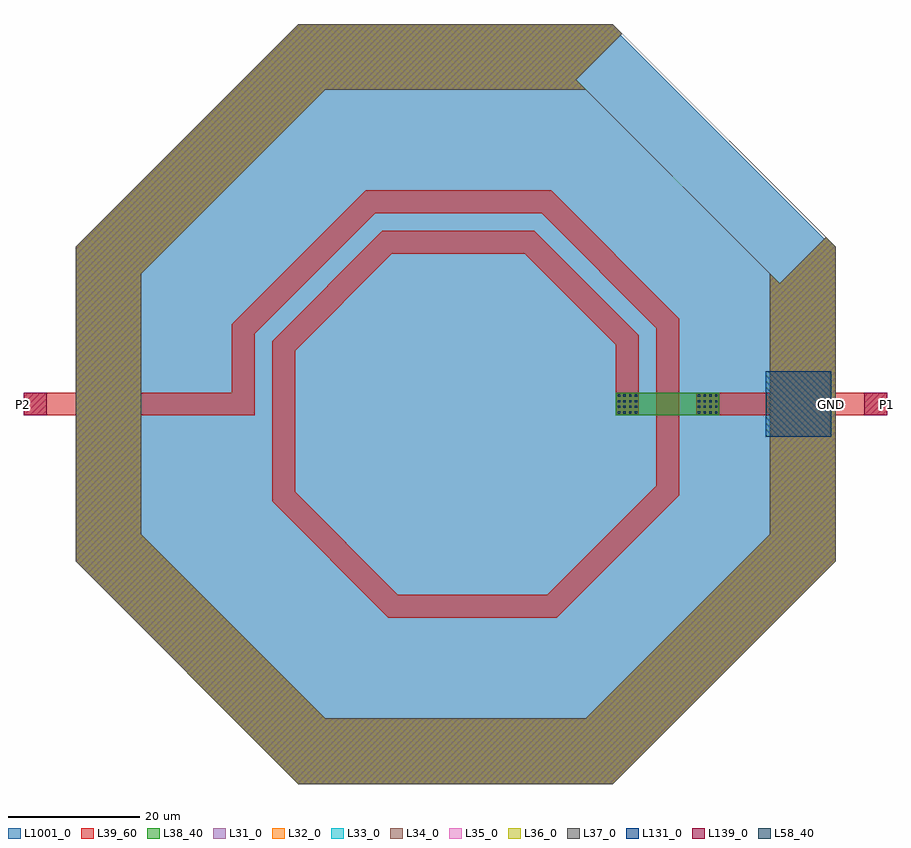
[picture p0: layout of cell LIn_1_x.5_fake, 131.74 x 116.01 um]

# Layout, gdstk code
import gdstk
lib = gdstk.Library(unit=1e-6, precision=1e-09)
def R(c, l, rs):  # rectangles x0, y0, x1, y1
    for r in rs: c.add(gdstk.rectangle(r[:2], r[2:], *l))
def A(c, l, x, y, w, h, nx, ny, dx, dy):  # array of equal rectangles
    R(c, l, [(x+i*dx, y+j*dy, x+i*dx+w, y+j*dy+h) for i in range(nx) for j in range(ny)])
def P(c, l, *ps):  # polygons
    for p in ps: c.add(gdstk.Polygon(p, *l))
L31_0 = (31, 0)
L32_0 = (32, 0)
L33_0 = (33, 0)
L34_0 = (34, 0)
L35_0 = (35, 0)
L36_0 = (36, 0)
L37_0 = (37, 0)
L38_40 = (38, 40)
L39_60 = (39, 60)
L58_40 = (58, 40)
L131_0 = (131, 0)
L139_0 = (139, 0)
L1001_0 = (1001, 0)

lin_1_x_5_fake = lib.new_cell('LIn_1_x.5_fake')
P(lin_1_x_5_fake, L31_0, [(49.467,18.419),(56.539,25.49),(24.026,58.003),(-24.026,58.003),(-58.003,24.026),(-58.003,-24.026),(-24.026,-58.003),(24.026,-58.003),(58.003,-24.026),(58.003,24.026),(25.49,56.539),(18.419,49.467),(48.003,19.883),(48.003,-19.883),(19.883,-48.003),(-19.883,-48.003),(-48.003,-19.883),(-48.003,19.883),(-19.883,48.003),(19.883,48.003)])
P(lin_1_x_5_fake, L32_0, [(49.467,18.419),(56.539,25.49),(24.026,58.003),(-24.026,58.003),(-58.003,24.026),(-58.003,-24.026),(-24.026,-58.003),(24.026,-58.003),(58.003,-24.026),(58.003,24.026),(25.49,56.539),(18.419,49.467),(48.003,19.883),(48.003,-19.883),(19.883,-48.003),(-19.883,-48.003),(-48.003,-19.883),(-48.003,19.883),(-19.883,48.003),(19.883,48.003)])
P(lin_1_x_5_fake, L33_0, [(49.467,18.419),(56.539,25.49),(24.026,58.003),(-24.026,58.003),(-58.003,24.026),(-58.003,-24.026),(-24.026,-58.003),(24.026,-58.003),(58.003,-24.026),(58.003,24.026),(25.49,56.539),(18.419,49.467),(48.003,19.883),(48.003,-19.883),(19.883,-48.003),(-19.883,-48.003),(-48.003,-19.883),(-48.003,19.883),(-19.883,48.003),(19.883,48.003)])
P(lin_1_x_5_fake, L34_0, [(49.467,18.419),(56.539,25.49),(24.026,58.003),(-24.026,58.003),(-58.003,24.026),(-58.003,-24.026),(-24.026,-58.003),(24.026,-58.003),(58.003,-24.026),(58.003,24.026),(25.49,56.539),(18.419,49.467),(48.003,19.883),(48.003,-19.883),(19.883,-48.003),(-19.883,-48.003),(-48.003,-19.883),(-48.003,19.883),(-19.883,48.003),(19.883,48.003)])
P(lin_1_x_5_fake, L35_0, [(49.467,18.419),(56.539,25.49),(24.026,58.003),(-24.026,58.003),(-58.003,24.026),(-58.003,-24.026),(-24.026,-58.003),(24.026,-58.003),(58.003,-24.026),(58.003,24.026),(25.49,56.539),(18.419,49.467),(48.003,19.883),(48.003,-19.883),(19.883,-48.003),(-19.883,-48.003),(-48.003,-19.883),(-48.003,19.883),(-19.883,48.003),(19.883,48.003)])
P(lin_1_x_5_fake, L36_0, [(49.467,18.419),(56.539,25.49),(24.026,58.003),(-24.026,58.003),(-58.003,24.026),(-58.003,-24.026),(-24.026,-58.003),(24.026,-58.003),(58.003,-24.026),(58.003,24.026),(25.49,56.539),(18.419,49.467),(48.003,19.883),(48.003,-19.883),(19.883,-48.003),(-19.883,-48.003),(-48.003,-19.883),(-48.003,19.883),(-19.883,48.003),(19.883,48.003)])
P(lin_1_x_5_fake, L37_0, [(49.467,18.419),(56.539,25.49),(24.026,58.003),(-24.026,58.003),(-58.003,24.026),(-58.003,-24.026),(-24.026,-58.003),(24.026,-58.003),(58.003,-24.026),(58.003,24.026),(25.49,56.539),(18.419,49.467),(48.003,19.883),(48.003,-19.883),(19.883,-48.003),(-19.883,-48.003),(-48.003,-19.883),(-48.003,19.883),(-19.883,48.003),(19.883,48.003)])
R(lin_1_x_5_fake, L38_40, [(24.495,-1.75,40.245,1.75)])
P(lin_1_x_5_fake, L38_40, [(49.467,18.419),(56.539,25.49),(24.026,58.003),(-24.026,58.003),(-58.003,24.026),(-58.003,-24.026),(-24.026,-58.003),(24.026,-58.003),(58.003,-24.026),(58.003,24.026),(25.49,56.539),(18.419,49.467),(48.003,19.883),(48.003,-19.883),(19.883,-48.003),(-19.883,-48.003),(-48.003,-19.883),(-48.003,19.883),(-19.883,48.003),(19.883,48.003)])
R(lin_1_x_5_fake, L39_60, [(-65.87,-1.75,-30.62,1.75), (36.745,-1.75,65.87,1.75)])
P(lin_1_x_5_fake, L39_60, [(24.495,-1.75),(27.995,-1.75),(27.995,10.515),(12.045,26.465),(-11.15,26.465),(-27.995,9.615),(-27.995,-14.845),(-10.25,-32.59),(15.48,-32.59),(34.12,-13.945),(34.12,13.05),(14.58,32.59),(-13.685,32.59),(-34.12,12.155),(-34.12,0),(-30.62,0),(-30.62,10.705),(-12.235,29.09),(13.13,29.09),(30.62,11.6),(30.62,-12.495),(14.03,-29.09),(-8.8,-29.09),(-24.495,-13.395),(-24.495,8.165),(-9.7,22.965),(10.595,22.965),(24.495,9.065)],
  [(49.467,18.419),(56.539,25.49),(24.026,58.003),(-24.026,58.003),(-58.003,24.026),(-58.003,-24.026),(-24.026,-58.003),(24.026,-58.003),(58.003,-24.026),(58.003,24.026),(25.49,56.539),(18.419,49.467),(48.003,19.883),(48.003,-19.883),(19.883,-48.003),(-19.883,-48.003),(-48.003,-19.883),(-48.003,19.883),(-19.883,48.003),(19.883,48.003)])
A(lin_1_x_5_fake, L58_40, 24.765, -1.48, 0.35, 0.35, 4, 4, 0.87, 0.87)
A(lin_1_x_5_fake, L58_40, 37.015, -1.48, 0.35, 0.35, 4, 4, 0.87, 0.87)
R(lin_1_x_5_fake, L131_0, [(47.37,-5,57.37,5)])
R(lin_1_x_5_fake, L139_0, [(-65.87,-1.75,-62.37,1.75), (62.37,-1.75,65.87,1.75)])
P(lin_1_x_5_fake, L1001_0, [(57.622,23.868),(23.868,57.622),(-23.868,57.622),(-57.622,23.868),(-57.622,-23.868),(-23.868,-57.622),(23.868,-57.622),(57.622,-23.868)],
  [(57.622,23.868),(23.868,57.622),(-23.868,57.622),(-57.622,23.868),(-57.622,-23.868),(-23.868,-57.622),(23.868,-57.622),(57.622,-23.868)],
  [(57.622,23.868),(23.868,57.622),(-23.868,57.622),(-57.622,23.868),(-57.622,-23.868),(-23.868,-57.622),(23.868,-57.622),(57.622,-23.868)],
  [(57.622,23.868),(23.868,57.622),(-23.868,57.622),(-57.622,23.868),(-57.622,-23.868),(-23.868,-57.622),(23.868,-57.622),(57.622,-23.868)],
  [(57.622,23.868),(23.868,57.622),(-23.868,57.622),(-57.622,23.868),(-57.622,-23.868),(-23.868,-57.622),(23.868,-57.622),(57.622,-23.868)],
  [(57.622,23.868),(23.868,57.622),(-23.868,57.622),(-57.622,23.868),(-57.622,-23.868),(-23.868,-57.622),(23.868,-57.622),(57.622,-23.868)],
  [(57.622,23.868),(23.868,57.622),(-23.868,57.622),(-57.622,23.868),(-57.622,-23.868),(-23.868,-57.622),(23.868,-57.622),(57.622,-23.868)],
  [(57.622,23.868),(23.868,57.622),(-23.868,57.622),(-57.622,23.868),(-57.622,-23.868),(-23.868,-57.622),(23.868,-57.622),(57.622,-23.868)],
  [(57.622,23.868),(23.868,57.622),(-23.868,57.622),(-57.622,23.868),(-57.622,-23.868),(-23.868,-57.622),(23.868,-57.622),(57.622,-23.868)])
lin_1_x_5_fake.add(gdstk.Label('P1', (65.87,0), layer=139, texttype=0))
lin_1_x_5_fake.add(gdstk.Label('P2', (-65.87,0), layer=139, texttype=0))
lin_1_x_5_fake.add(gdstk.Label('GND', (57.37,0), layer=131, texttype=0))

lib.write_gds('LIn_1_x.5_fake.gds')
